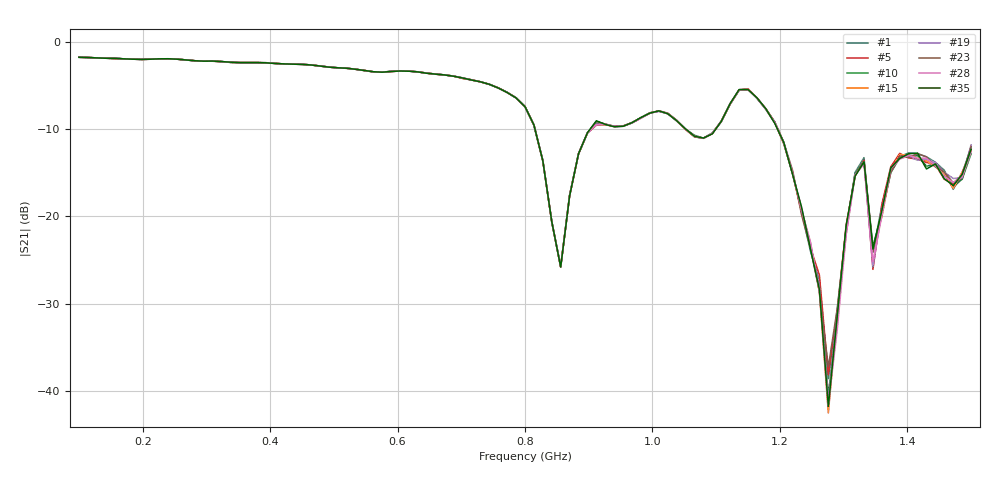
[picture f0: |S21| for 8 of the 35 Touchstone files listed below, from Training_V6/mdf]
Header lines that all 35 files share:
! NanoVNA-App
! Start: 100MHz Stop: 1,5GHz Points: 101
! S-Parameter data: F S11 S21 S12 S22
# Hz S RI R 50
!  Frequency  S11_Real  S11_Imag  S21_Real  S21_Imag  S12_Real  S12_Imag  S22_Real  S22_Imag
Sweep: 100 MHz to 1.5 GHz
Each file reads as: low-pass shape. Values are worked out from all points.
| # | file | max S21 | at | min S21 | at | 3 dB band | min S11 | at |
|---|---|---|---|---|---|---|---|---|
| 1 | mdf (601).s2p | -1.80 dB | 100 MHz | -38.6 dB | 1.276 GHz | 100 MHz-730 MHz | -39.0 dB | 128 MHz |
| 2 | mdf (602).s2p | -1.80 dB | 100 MHz | -37.8 dB | 1.276 GHz | 100 MHz-730 MHz | -39.0 dB | 128 MHz |
| 3 | mdf (603).s2p | -1.80 dB | 100 MHz | -38.4 dB | 1.276 GHz | 100 MHz-730 MHz | -39.0 dB | 128 MHz |
| 4 | mdf (604).s2p | -1.80 dB | 100 MHz | -37.8 dB | 1.276 GHz | 100 MHz-730 MHz | -39.1 dB | 128 MHz |
| 5 | mdf (605).s2p | -1.80 dB | 100 MHz | -38.1 dB | 1.276 GHz | 100 MHz-730 MHz | -39.0 dB | 128 MHz |
| 6 | mdf (606).s2p | -1.80 dB | 100 MHz | -36.0 dB | 1.276 GHz | 100 MHz-730 MHz | -39.0 dB | 128 MHz |
| 7 | mdf (607).s2p | -1.80 dB | 100 MHz | -43.7 dB | 1.276 GHz | 100 MHz-730 MHz | -39.0 dB | 128 MHz |
| 8 | mdf (608).s2p | -1.80 dB | 100 MHz | -41.0 dB | 1.276 GHz | 100 MHz-730 MHz | -39.0 dB | 128 MHz |
| 9 | mdf (609).s2p | -1.80 dB | 100 MHz | -38.6 dB | 1.276 GHz | 100 MHz-730 MHz | -39.0 dB | 128 MHz |
| 10 | mdf (610).s2p | -1.80 dB | 100 MHz | -40.5 dB | 1.276 GHz | 100 MHz-730 MHz | -39.0 dB | 128 MHz |
| 11 | mdf (611).s2p | -1.80 dB | 100 MHz | -38.1 dB | 1.276 GHz | 100 MHz-730 MHz | -39.0 dB | 128 MHz |
| 12 | mdf (612).s2p | -1.80 dB | 100 MHz | -40.6 dB | 1.276 GHz | 100 MHz-730 MHz | -39.0 dB | 128 MHz |
| 13 | mdf (614).s2p | -1.80 dB | 100 MHz | -39.3 dB | 1.276 GHz | 100 MHz-730 MHz | -39.0 dB | 128 MHz |
| 14 | mdf (615).s2p | -1.80 dB | 100 MHz | -39.9 dB | 1.276 GHz | 100 MHz-730 MHz | -39.0 dB | 128 MHz |
| 15 | mdf (616).s2p | -1.80 dB | 100 MHz | -42.5 dB | 1.276 GHz | 100 MHz-730 MHz | -39.0 dB | 128 MHz |
| 16 | mdf (618).s2p | -1.80 dB | 100 MHz | -38.8 dB | 1.276 GHz | 100 MHz-730 MHz | -39.0 dB | 128 MHz |
| 17 | mdf (619).s2p | -1.80 dB | 100 MHz | -40.7 dB | 1.276 GHz | 100 MHz-730 MHz | -39.0 dB | 128 MHz |
| 18 | mdf (620).s2p | -1.80 dB | 100 MHz | -38.5 dB | 1.276 GHz | 100 MHz-730 MHz | -39.0 dB | 128 MHz |
| 19 | mdf (621).s2p | -1.80 dB | 100 MHz | -41.2 dB | 1.276 GHz | 100 MHz-730 MHz | -39.0 dB | 128 MHz |
| 20 | mdf (622).s2p | -1.80 dB | 100 MHz | -39.2 dB | 1.276 GHz | 100 MHz-730 MHz | -39.0 dB | 128 MHz |
| 21 | mdf (623).s2p | -1.80 dB | 100 MHz | -41.8 dB | 1.276 GHz | 100 MHz-730 MHz | -39.0 dB | 128 MHz |
| 22 | mdf (624).s2p | -1.80 dB | 100 MHz | -37.5 dB | 1.276 GHz | 100 MHz-730 MHz | -39.0 dB | 128 MHz |
| 23 | mdf (625).s2p | -1.80 dB | 100 MHz | -37.2 dB | 1.276 GHz | 100 MHz-730 MHz | -39.0 dB | 128 MHz |
| 24 | mdf (626).s2p | -1.80 dB | 100 MHz | -47.5 dB | 1.276 GHz | 100 MHz-730 MHz | -39.0 dB | 128 MHz |
| 25 | mdf (627).s2p | -1.80 dB | 100 MHz | -35.7 dB | 1.276 GHz | 100 MHz-730 MHz | -39.0 dB | 128 MHz |
| 26 | mdf (628).s2p | -1.80 dB | 100 MHz | -38.2 dB | 1.276 GHz | 100 MHz-730 MHz | -39.0 dB | 128 MHz |
| 27 | mdf (630).s2p | -1.80 dB | 100 MHz | -39.9 dB | 1.276 GHz | 100 MHz-730 MHz | -39.0 dB | 128 MHz |
| 28 | mdf (631).s2p | -1.80 dB | 100 MHz | -41.5 dB | 1.276 GHz | 100 MHz-730 MHz | -39.0 dB | 128 MHz |
| 29 | mdf (632).s2p | -1.80 dB | 100 MHz | -37.8 dB | 1.276 GHz | 100 MHz-730 MHz | -39.0 dB | 128 MHz |
| 30 | mdf (634).s2p | -1.80 dB | 100 MHz | -41.1 dB | 1.276 GHz | 100 MHz-730 MHz | -39.0 dB | 128 MHz |
| 31 | mdf (635).s2p | -1.80 dB | 100 MHz | -40.0 dB | 1.276 GHz | 100 MHz-730 MHz | -39.0 dB | 128 MHz |
| 32 | mdf (636).s2p | -1.80 dB | 100 MHz | -39.3 dB | 1.276 GHz | 100 MHz-730 MHz | -39.0 dB | 128 MHz |
| 33 | mdf (637).s2p | -1.80 dB | 100 MHz | -40.0 dB | 1.276 GHz | 100 MHz-730 MHz | -39.0 dB | 128 MHz |
| 34 | mdf (638).s2p | -1.80 dB | 100 MHz | -40.2 dB | 1.276 GHz | 100 MHz-730 MHz | -39.0 dB | 128 MHz |
| 35 | mdf (639).s2p | -1.80 dB | 100 MHz | -41.7 dB | 1.276 GHz | 100 MHz-730 MHz | -39.0 dB | 128 MHz |
